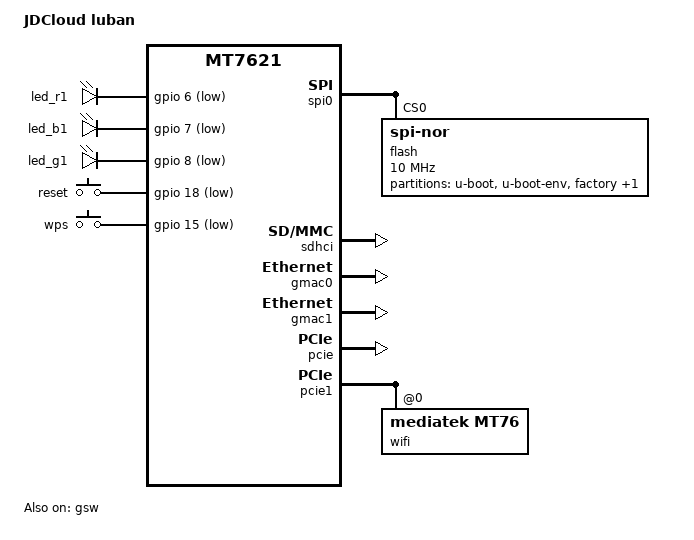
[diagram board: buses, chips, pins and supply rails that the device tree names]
// SPDX-License-Identifier: GPL-2.0-or-later OR MIT

#include "mt7621.dtsi"

#include <dt-bindings/gpio/gpio.h>
#include <dt-bindings/input/input.h>

/ {
	compatible = "jdcloud,luban", "mediatek,mt7621-soc";
	model = "JDCloud luban";

	aliases {
		led-boot = &led_r1;
		led-failsafe = &led_r1;
		led-running = &led_g1;
		led-upgrade = &led_b1;
		label-mac-device = &gmac0;
	};

	chosen {
		bootargs = "console=ttyS0,115200n8";
	};

	leds {
		compatible = "gpio-leds";

		led_r1: led_r1 {
			label = "led_r1";
			gpios = <&gpio 6 GPIO_ACTIVE_LOW>;
			default-state = "on";
		};

		led_b1: led_b1 {
			label = "led_b1";
			gpios = <&gpio 7 GPIO_ACTIVE_LOW>;
		};

		led_g1: led_g1 {
			label = "led_g1";
			gpios = <&gpio 8 GPIO_ACTIVE_LOW>;
		};
	};

	keys {
		compatible = "gpio-keys";

		reset {
			label = "reset";
			gpios = <&gpio 18 GPIO_ACTIVE_LOW>;
			linux,code = <KEY_RESTART>;
		};

		wps {
			label = "wps";
			gpios = <&gpio 15 GPIO_ACTIVE_LOW>;
			linux,code = <KEY_WPS_BUTTON>;
		};
	};
};

&spi0 {
	status = "okay";

	flash@0 {
		compatible = "jedec,spi-nor";
		reg = <0>;
		spi-max-frequency = <10000000>;
		broken-flash-reset;

		partitions {
			compatible = "fixed-partitions";
			#address-cells = <1>;
			#size-cells = <1>;

			partition@0 {
				label = "u-boot";
				reg = <0x0 0x40000>;
				read-only;
			};
			
			partition@40000 {
				label = "u-boot-env";
				reg = <0x40000 0x10000>;
				read-only;
			};
			
			factory: partition@50000 {
				label = "factory";
				reg = <0x50000 0x40000>;
				read-only;
			};
			
			partition@90000 {
				compatible = "denx,uimage";
				label = "firmware";
				reg = <0x90000 0xf70000>;
			};
		};
	};
};

&state_default {
	gpio {
		groups = "i2c", "uart2", "uart3";
		function = "gpio";
	};
};

&sdhci {
	status = "okay";
};

&gmac0 {
	status = "okay";
	mtd-mac-address = <&factory 0x3fff4>;
};

&gmac1 {
	status = "okay";
	mtd-mac-address = <&factory 0x3fffa>;
};

&switch0 {
	status = "disabled";
};

&hnat {
	mtketh-wan = "eth1";
	mtketh-ppd = "eth0";
	mtketh-lan = "eth0";
	mtketh-max-gmac = <2>;
};

&gsw {
	status = "okay";
	mediatek,portmap = "llllw";
};

&pcie {
	status = "okay";
};

&pcie1 {
	wifi@0,0 {
		compatible = "mediatek,mt76";
		reg = <0x0000 0 0 0 0>;
		mediatek,mtd-eeprom = <&factory 0x0>;
	};
};
